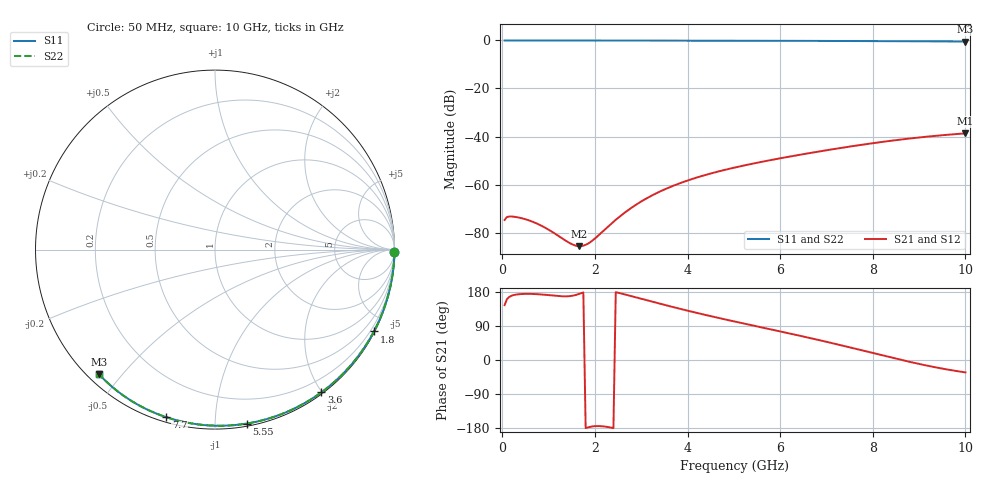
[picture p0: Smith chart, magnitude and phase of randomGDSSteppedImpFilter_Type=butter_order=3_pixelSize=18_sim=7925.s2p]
! freq	dB(S11)	phase(S11)	dB(S12)	phase(S12)
!  dB(S21)	phase(S21)	dB(S22)	phase(S22)
!S-par simulation data
#  GHz  S  DB  R 50
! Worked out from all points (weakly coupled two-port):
!   200 points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, 50 MHz to 10 GHz, reference 50 ohm
!   highest |S21| = -38.68 dB at 10 GHz (marker M1); lowest = -85.6 dB at 1.65 GHz (marker M2)
!   lowest |S11| = -0.5 dB at 10 GHz (marker M3), VSWR 37.67, Z = 1.58 - j21.7 ohm
!   |S11| at or under -10 dB: nowhere
!   |S22| runs from -0.5 to 0.0 dB; largest |S21 - S12| = 0
!   S11 on the Smith chart (normalised r, x): 50 MHz: open; 1.8 GHz: 0.04, -4.12; 3.6 GHz: 0.02, -1.99; 5.55 GHz: 0.02, -1.20; 7.7 GHz: 0.02, -0.75; 10 GHz: 0.03, -0.43
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0.05  -0.00 -0.8  -74.72 144.7  -74.72 144.7  -0.00 -0.8
0.1  -0.00 -1.5  -73.51 160.4  -73.51 160.4  -0.00 -1.5
0.3  -0.00 -4.6  -73.52 172.7  -73.52 172.7  -0.00 -4.6
0.5  -0.01 -7.7  -74.43 174.5  -74.43 174.5  -0.01 -7.7
0.7  -0.01 -10.7  -75.83 174.1  -75.83 174.1  -0.01 -10.7
1.1  -0.02 -16.8  -79.95 170.0  -79.95 170.0  -0.02 -16.8
1.65  -0.03 -25.0  -85.64 174.0  -85.64 174.0  -0.03 -25.0
1.75  -0.03 -26.5  -85.43 178.3  -85.43 178.3  -0.03 -26.5
1.8  -0.03 -27.3  -85.08 -179.7  -85.08 -179.7  -0.03 -27.3
2.15  -0.04 -32.4  -79.86 -174.8  -79.86 -174.8  -0.04 -32.4
2.45  -0.05 -36.8  -74.66 178.9  -74.66 178.9  -0.05 -36.8
2.75  -0.05 -41.2  -70.18 169.8  -70.18 169.8  -0.05 -41.2
3.05  -0.06 -45.5  -66.47 160.0  -66.47 160.0  -0.06 -45.5
3.4  -0.07 -50.5  -62.93 148.7  -62.93 148.7  -0.07 -50.5
3.6  -0.07 -53.3  -61.22 142.4  -61.22 142.4  -0.07 -53.3
4.25  -0.09 -62.3  -56.77 122.9  -56.77 122.9  -0.09 -62.3
5.05  -0.11 -73.0  -52.77 100.7  -52.77 100.7  -0.11 -73.0
5.55  -0.13 -79.6  -50.73 87.4  -50.73 87.4  -0.13 -79.6
6.7  -0.18 -94.1  -46.68 56.5  -46.68 56.5  -0.18 -94.1
7.7  -0.24 -106.2  -43.60 27.5  -43.60 27.5  -0.24 -106.2
8.35  -0.29 -113.9  -41.86 8.0  -41.86 8.0  -0.29 -113.9
10  -0.46 -133.0  -38.68 -32.6  -38.68 -32.6  -0.46 -133.0
